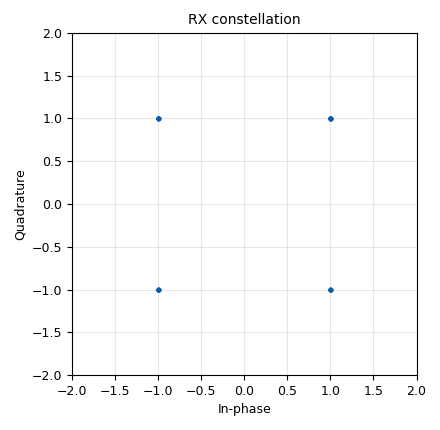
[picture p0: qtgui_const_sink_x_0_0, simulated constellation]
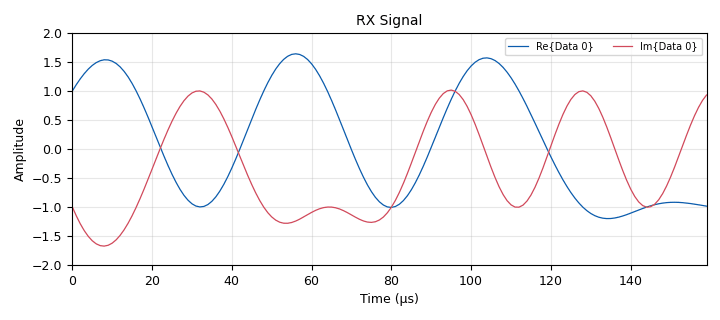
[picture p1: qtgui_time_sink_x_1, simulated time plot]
options:
  parameters:
    author: Felix Wunsch
    category: Custom
    description: Effekte bei fehlender Synchronisation
    generate_options: qt_gui
    id: demo_synchronisation
    output_language: python
    title: Demonstration Synchronisation
  states: {}

blocks:
- name: delay
  id: variable_qtgui_range
  parameters:
    gui_hint: 0,0,1,1
    label: Delay
    rangeType: int
    start: '-2*sps'
    step: '1'
    stop: 2*sps
    value: '0'
  states: {}
- name: f_off
  id: variable_qtgui_range
  parameters:
    gui_hint: 0,1,1,1
    label: Frequency offset
    start: '-samp_rate/sps/2'
    step: '10'
    stop: samp_rate/sps/2
    value: '0'
  states: {}
- name: noise_ampl
  id: variable_qtgui_range
  parameters:
    gui_hint: 0,3,1,1
    label: Noise amplitude
    start: '0'
    step: '.01'
    stop: '1'
    value: '0'
  states: {}
- name: phi_off
  id: variable_qtgui_range
  parameters:
    gui_hint: 0,2,1,1
    label: Phase offset
    start: '-np.pi'
    step: '.1'
    stop: np.pi
    value: '0'
  states: {}
- name: rrc_taps
  id: variable_rrc_filter_taps
  parameters:
    alpha: '0.35'
    gain: '1.0'
    ntaps: 11*sps
    samp_rate: samp_rate
    sym_rate: samp_rate/sps
  states: {}
- name: samp_rate
  id: variable
  parameters:
    value: 1e6
  states: {}
- name: sps
  id: variable
  parameters:
    value: '16'
  states: {}
- name: analog_noise_source_x_0
  id: analog_noise_source_x
  parameters:
    amp: noise_ampl
    noise_type: analog.GR_GAUSSIAN
    seed: '0'
    type: complex
  states: {}
- name: analog_random_source_x_0
  id: analog_random_source_x
  parameters:
    max: '4'
    min: '0'
    num_samps: '1000'
    repeat: 'True'
    type: int
  states: {}
- name: analog_sig_source_x_0
  id: analog_sig_source_x
  parameters:
    amp: '1'
    freq: f_off
    offset: '0'
    phase: '0'
    samp_rate: samp_rate
    type: complex
    waveform: analog.GR_COS_WAVE
  states: {}
- name: blocks_add_xx_0
  id: blocks_add_xx
  parameters:
    type: complex
  states: {}
- name: blocks_delay_0
  id: blocks_delay
  parameters:
    delay: delay
    type: complex
  states: {}
- name: blocks_keep_m_in_n_0
  id: blocks_keep_m_in_n
  parameters:
    m: '1'
    n: sps
    offset: '0'
    type: complex
  states: {}
- name: blocks_multiply_const_vxx_0
  id: blocks_multiply_const_vxx
  parameters:
    const: np.exp(1j*phi_off)
    type: complex
  states: {}
- name: blocks_multiply_xx_0
  id: blocks_multiply_xx
  parameters:
    type: complex
  states: {}
- name: blocks_throttle_0
  id: blocks_throttle
  parameters:
    samples_per_second: samp_rate
    type: int
  states: {}
- name: digital_chunks_to_symbols_xx_0
  id: digital_chunks_to_symbols_xx
  parameters:
    dimension: '1'
    in_type: int
    out_type: complex
    symbol_table: '[1+1j, -1+1j, 1-1j, -1-1j]'
  states: {}
- name: fir_filter_xxx_0
  id: fir_filter_xxx
  parameters:
    decim: '1'
    taps: rrc_taps/np.sqrt(np.inner(rrc_taps, rrc_taps))
    type: ccf
  states: {}
- name: import_0
  id: import
  parameters:
    imports: import numpy as np
  states: {}
- name: interp_fir_filter_xxx_0
  id: interp_fir_filter_xxx
  parameters:
    interp: sps
    taps: rrc_taps/np.sqrt(np.inner(rrc_taps, rrc_taps))
    type: ccf
  states: {}
- name: qtgui_const_sink_x_0
  id: qtgui_const_sink_x
  parameters:
    gui_hint: 2,0,2,2
    name: '"TX constellation"'
    size: '100'
    type: complex
  states: {state: disabled}
- name: qtgui_const_sink_x_0_0
  id: qtgui_const_sink_x
  parameters:
    alpha1: '0.75'
    gui_hint: 1,0,2,2
    name: '"RX constellation"'
    size: '200'
    type: complex
  states: {}
- name: qtgui_time_sink_x_0
  id: qtgui_time_sink_x
  parameters:
    gui_hint: 2,2,2,2
    label1: ''
    label2: ''
    name: '"TX time signal"'
    size: sps*10
    srate: samp_rate
    type: complex
  states: {state: disabled}
- name: qtgui_time_sink_x_1
  id: qtgui_time_sink_x
  parameters:
    gui_hint: 1,2,2,2
    label1: ''
    label2: ''
    name: '"RX Signal"'
    size: sps*10
    srate: samp_rate
    type: complex
    ymax: '2'
    ymin: '-2'
  states: {}
- name: virtual_sink_0
  id: virtual_sink
  parameters:
    stream_id: tx
  states: {}
- name: virtual_sink_1
  id: virtual_sink
  parameters:
    stream_id: rx
  states: {}
- name: virtual_source_0
  id: virtual_source
  parameters:
    stream_id: tx
  states: {}
- name: virtual_source_0_0
  id: virtual_source
  parameters:
    stream_id: rx
  states: {}

connections:
- [analog_noise_source_x_0, '0', blocks_add_xx_0, '1']
- [analog_random_source_x_0, '0', blocks_throttle_0, '0']
- [analog_sig_source_x_0, '0', blocks_multiply_xx_0, '1']
- [blocks_add_xx_0, '0', virtual_sink_1, '0']
- [blocks_delay_0, '0', blocks_multiply_const_vxx_0, '0']
- [blocks_keep_m_in_n_0, '0', qtgui_const_sink_x_0_0, '0']
- [blocks_multiply_const_vxx_0, '0', blocks_multiply_xx_0, '0']
- [blocks_multiply_xx_0, '0', blocks_add_xx_0, '0']
- [blocks_throttle_0, '0', digital_chunks_to_symbols_xx_0, '0']
- [digital_chunks_to_symbols_xx_0, '0', interp_fir_filter_xxx_0, '0']
- [digital_chunks_to_symbols_xx_0, '0', qtgui_const_sink_x_0, '0']
- [fir_filter_xxx_0, '0', blocks_keep_m_in_n_0, '0']
- [fir_filter_xxx_0, '0', qtgui_time_sink_x_1, '0']
- [interp_fir_filter_xxx_0, '0', qtgui_time_sink_x_0, '0']
- [interp_fir_filter_xxx_0, '0', virtual_sink_0, '0']
- [virtual_source_0, '0', blocks_delay_0, '0']
- [virtual_source_0_0, '0', fir_filter_xxx_0, '0']

metadata:
  file_format: 1
